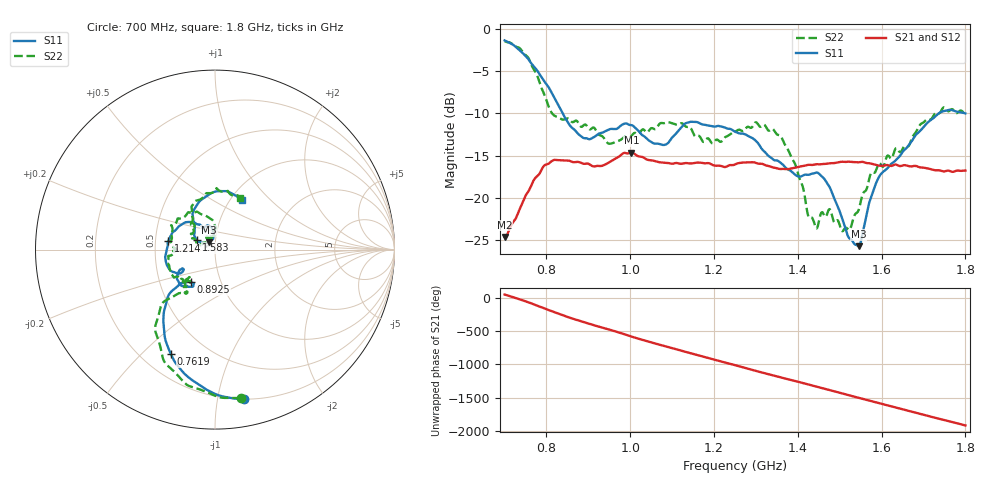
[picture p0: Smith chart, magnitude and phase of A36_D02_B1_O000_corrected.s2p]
! Created with skrf 1.9.0 (http://scikit-rf.org).
# Hz S RI R 50.0
!freq ReS11 ImS11 ReS21 ImS21 ReS12 ImS12 ReS22 ImS22
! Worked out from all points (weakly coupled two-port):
!   1601 points, 700 MHz to 1.8 GHz, reference 50 ohm
!   highest |S21| = -14.64 dB at 1.002 GHz (marker M1); lowest = -24.6 dB at 700.7 MHz (marker M2)
!   lowest |S11| = -25.7 dB at 1.545 GHz (marker M3), VSWR 1.11, Z = 46.6 + j3.73 ohm
!   |S11| at or under -10 dB: 838.6 MHz to 1.736 GHz (897.9 MHz wide, 69.7 % of centre); 1.798858 GHz to end of sweep
!   |S22| runs from -23.9 to -1.5 dB; largest |S21 - S12| = 0.0034
!   S11 on the Smith chart (normalised r, x): 700 MHz: 0.20, -1.19; 761.9 MHz: 0.32, -0.62; 892.5 MHz: 0.72, -0.27; 1.214 GHz: 0.58, +0.06; 1.583 GHz: 0.81, +0.09; 1.8 GHz: 1.12, +0.69
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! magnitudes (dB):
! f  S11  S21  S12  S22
! 700 MHz  -1.4  -24.6  -24.3  -1.5
! 700.7 MHz  -1.4  -24.6  -24.3  -1.5
! 761.9 MHz  -4.0  -18.7  -18.7  -4.0
! 814.1 MHz  -7.7  -15.6  -15.6  -10.1
! 883.6 MHz  -12.8  -15.9  -15.8  -11.6
! 892.5 MHz  -13.0  -16.0  -16.0  -11.3
! 949.6 MHz  -11.9  -15.8  -15.8  -13.6
! 1.002 GHz  -11.4  -14.6  -14.7  -12.7
! 1.067 GHz  -13.6  -15.8  -15.7  -11.4
! 1.139 GHz  -11.1  -15.9  -15.9  -11.6
! 1.214 GHz  -11.5  -16.2  -16.2  -13.3
! 1.25 GHz  -12.2  -16.0  -16.0  -12.2
! 1.3 GHz  -13.3  -15.9  -15.8  -11.1
! 1.359 GHz  -15.8  -16.6  -16.5  -12.7
! 1.434 GHz  -17.1  -16.1  -16.1  -22.3
! 1.473 GHz  -18.5  -15.9  -15.9  -21.5
! 1.521 GHz  -24.6  -15.7  -15.7  -23.7
! 1.545 GHz  -25.7  -15.8  -15.7  -21.4
! 1.583 GHz  -18.7  -16.0  -16.1  -17.0
! 1.617 GHz  -16.3  -16.2  -16.1  -15.0
! 1.737 GHz  -10.0  -16.7  -16.8  -10.0
! 1.8 GHz  -10.0  -16.8  -16.7  -9.9
